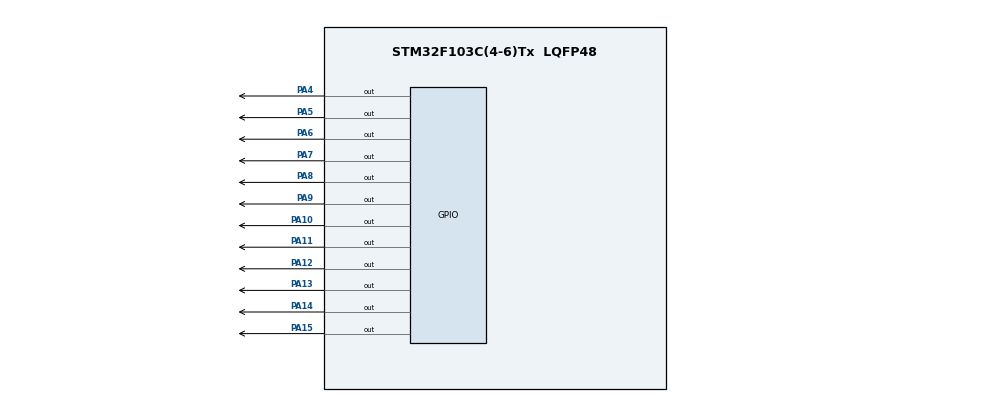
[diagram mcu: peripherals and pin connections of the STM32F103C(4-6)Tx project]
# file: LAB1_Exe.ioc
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Mcu.Family=STM32F1
Mcu.Name=STM32F103C(4-6)Tx
Mcu.Package=LQFP48
NVIC.PriorityGroup=NVIC_PRIORITYGROUP_4
PA10.GPIO_Speed=GPIO_SPEED_FREQ_HIGH
PA10.Signal=GPIO_Output
PA11.GPIO_Speed=GPIO_SPEED_FREQ_HIGH
PA11.Signal=GPIO_Output
PA12.GPIO_Speed=GPIO_SPEED_FREQ_HIGH
PA12.Signal=GPIO_Output
PA13.GPIO_Speed=GPIO_SPEED_FREQ_HIGH
PA13.Signal=GPIO_Output
PA14.GPIO_Speed=GPIO_SPEED_FREQ_HIGH
PA14.Signal=GPIO_Output
PA15.GPIO_Speed=GPIO_SPEED_FREQ_HIGH
PA15.Signal=GPIO_Output
PA4.GPIO_Speed=GPIO_SPEED_FREQ_HIGH
PA4.Signal=GPIO_Output
PA5.GPIO_Speed=GPIO_SPEED_FREQ_HIGH
PA5.Signal=GPIO_Output
PA6.GPIO_Speed=GPIO_SPEED_FREQ_HIGH
PA6.Signal=GPIO_Output
PA7.GPIO_Speed=GPIO_SPEED_FREQ_HIGH
PA7.Signal=GPIO_Output
PA8.GPIO_Speed=GPIO_SPEED_FREQ_HIGH
PA8.Signal=GPIO_Output
PA9.GPIO_Speed=GPIO_SPEED_FREQ_HIGH
PA9.Signal=GPIO_Output
ProjectManager.HeapSize=0x200
ProjectManager.StackSize=0x400
ProjectManager.TargetToolchain=STM32CubeIDE
RCC.APB1Freq_Value=8000000
RCC.APB2Freq_Value=8000000
VP_SYS_VS_ND.Mode=No_Debug
board=custom

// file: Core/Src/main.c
/* USER CODE BEGIN Header */
/**
  ******************************************************************************
  * @file           : main.c
  * @brief          : Main program body
  ******************************************************************************
  * @attention
  *
  * <h2><center>&copy; Copyright (c) 2023 STMicroelectronics.
  * All rights reserved.</center></h2>
  *
  * This software component is licensed by ST under BSD 3-Clause license,
  * the "License"; You may not use this file except in compliance with the
  * License. You may obtain a copy of the License at:
  *                        opensource.org/licenses/BSD-3-Clause
  *
  ******************************************************************************
  */
/* USER CODE END Header */
#include "main.h"

void SystemClock_Config(void);
static void MX_GPIO_Init(void);

void clearAllClock();
void setNumberOnClock(int num);
void clearNumberOnClock(int num);
int main(void)
{

  /* MCU Configuration--------------------------------------------------------*/

  /* Reset of all peripherals, Initializes the Flash interface and the Systick. */
  HAL_Init();

  /* Configure the system clock */
  SystemClock_Config();

  /* Initialize all configured peripherals */
  MX_GPIO_Init();

  /* Infinite loop */
  /* USER CODE BEGIN WHILE */
  int s = 0; // giay
  int m = 0; // phut
  int h = 0; // gio
  while (1)
  {
	  clearAllClock();

	  setNumberOnClock(s/5);
	  setNumberOnClock(m/5);
	  setNumberOnClock(h);

	  s++;
	  if (s >= 60)
	  {
		  m++;
		  s = 0;
	  }
	  if (m >= 60)
	  {
		  h++;
		  m = 0;
	  }
	  if (h >= 12) h = 0;
	  HAL_Delay(1000);
    /* USER CODE END WHILE */

  }
}

void clearAllClock()
{
	HAL_GPIO_WritePin(GPIOA, GPIO_PIN_4|GPIO_PIN_5|GPIO_PIN_6|GPIO_PIN_7
	                          |GPIO_PIN_8|GPIO_PIN_9|GPIO_PIN_10|GPIO_PIN_11
	                          |GPIO_PIN_12|GPIO_PIN_13|GPIO_PIN_14|GPIO_PIN_15, GPIO_PIN_SET);
}
void setNumberOnClock(int num){
	switch(num){
	case 0:
			HAL_GPIO_WritePin(GPIOA, GPIO_PIN_4, GPIO_PIN_RESET);
			break;
	case 1:
			HAL_GPIO_WritePin(GPIOA, GPIO_PIN_5, GPIO_PIN_RESET);
			break;
	case 2:
			HAL_GPIO_WritePin(GPIOA, GPIO_PIN_6, GPIO_PIN_RESET);
			break;
	case 3:
			HAL_GPIO_WritePin(GPIOA, GPIO_PIN_7, GPIO_PIN_RESET);
			break;
	case 4:
			HAL_GPIO_WritePin(GPIOA, GPIO_PIN_8, GPIO_PIN_RESET);
			break;
	case 5:
			HAL_GPIO_WritePin(GPIOA, GPIO_PIN_9, GPIO_PIN_RESET);
			break;
	case 6:
			HAL_GPIO_WritePin(GPIOA, GPIO_PIN_10, GPIO_PIN_RESET);
			break;
	case 7:
			HAL_GPIO_WritePin(GPIOA, GPIO_PIN_11, GPIO_PIN_RESET);
			break;
	case 8:
			HAL_GPIO_WritePin(GPIOA, GPIO_PIN_12, GPIO_PIN_RESET);
			break;
	case 9:
			HAL_GPIO_WritePin(GPIOA, GPIO_PIN_13, GPIO_PIN_RESET);
			break;
	case 10:
			HAL_GPIO_WritePin(GPIOA, GPIO_PIN_14, GPIO_PIN_RESET);
			break;
	case 11:
			HAL_GPIO_WritePin(GPIOA, GPIO_PIN_15, GPIO_PIN_RESET);
			break;
	}
}
void clearNumberOnClock(int num)
{
	switch(num)
	{
	case 0:
			HAL_GPIO_WritePin(GPIOA, GPIO_PIN_4, GPIO_PIN_SET);
			break;
	case 1:
			HAL_GPIO_WritePin(GPIOA, GPIO_PIN_5, GPIO_PIN_SET);
			break;
	case 2:
			HAL_GPIO_WritePin(GPIOA, GPIO_PIN_6, GPIO_PIN_SET);
			break;
	case 3:
			HAL_GPIO_WritePin(GPIOA, GPIO_PIN_7, GPIO_PIN_SET);
			break;
	case 4:
			HAL_GPIO_WritePin(GPIOA, GPIO_PIN_8, GPIO_PIN_SET);
			break;
	case 5:
			HAL_GPIO_WritePin(GPIOA, GPIO_PIN_9, GPIO_PIN_SET);
			break;
	case 6:
			HAL_GPIO_WritePin(GPIOA, GPIO_PIN_10, GPIO_PIN_SET);
			break;
	case 7:
			HAL_GPIO_WritePin(GPIOA, GPIO_PIN_11, GPIO_PIN_SET);
			break;
	case 8:
			HAL_GPIO_WritePin(GPIOA, GPIO_PIN_12, GPIO_PIN_SET);
			break;
	case 9:
			HAL_GPIO_WritePin(GPIOA, GPIO_PIN_13, GPIO_PIN_SET);
			break;
	case 10:
			HAL_GPIO_WritePin(GPIOA, GPIO_PIN_14, GPIO_PIN_SET);
			break;
	case 11:
			HAL_GPIO_WritePin(GPIOA, GPIO_PIN_15, GPIO_PIN_SET);
			break;

	}
}
void SystemClock_Config(void)
{
  RCC_OscInitTypeDef RCC_OscInitStruct = {0};
  RCC_ClkInitTypeDef RCC_ClkInitStruct = {0};

  /** Initializes the RCC Oscillators according to the specified parameters
  * in the RCC_OscInitTypeDef structure.
  */
  RCC_OscInitStruct.OscillatorType = RCC_OSCILLATORTYPE_HSI;
  RCC_OscInitStruct.HSIState = RCC_HSI_ON;
  RCC_OscInitStruct.HSICalibrationValue = RCC_HSICALIBRATION_DEFAULT;
  RCC_OscInitStruct.PLL.PLLState = RCC_PLL_NONE;
  if (HAL_RCC_OscConfig(&RCC_OscInitStruct) != HAL_OK)
  {
    Error_Handler();
  }
  /** Initializes the CPU, AHB and APB buses clocks
  */
  RCC_ClkInitStruct.ClockType = RCC_CLOCKTYPE_HCLK|RCC_CLOCKTYPE_SYSCLK
                              |RCC_CLOCKTYPE_PCLK1|RCC_CLOCKTYPE_PCLK2;
  RCC_ClkInitStruct.SYSCLKSource = RCC_SYSCLKSOURCE_HSI;
  RCC_ClkInitStruct.AHBCLKDivider = RCC_SYSCLK_DIV1;
  RCC_ClkInitStruct.APB1CLKDivider = RCC_HCLK_DIV1;
  RCC_ClkInitStruct.APB2CLKDivider = RCC_HCLK_DIV1;

  if (HAL_RCC_ClockConfig(&RCC_ClkInitStruct, FLASH_LATENCY_0) != HAL_OK)
  {
    Error_Handler();
  }
}

static void MX_GPIO_Init(void)
{
  GPIO_InitTypeDef GPIO_InitStruct = {0};

  /* GPIO Ports Clock Enable */
  __HAL_RCC_GPIOA_CLK_ENABLE();

  /*Configure GPIO pin Output Level */
  HAL_GPIO_WritePin(GPIOA, GPIO_PIN_4|GPIO_PIN_5|GPIO_PIN_6|GPIO_PIN_7
                          |GPIO_PIN_8|GPIO_PIN_9|GPIO_PIN_10|GPIO_PIN_11
                          |GPIO_PIN_12|GPIO_PIN_13|GPIO_PIN_14|GPIO_PIN_15, GPIO_PIN_RESET);

  /*Configure GPIO pins : PA4 PA5 PA6 PA7
                           PA8 PA9 PA10 PA11
                           PA12 PA13 PA14 PA15 */
  GPIO_InitStruct.Pin = GPIO_PIN_4|GPIO_PIN_5|GPIO_PIN_6|GPIO_PIN_7
                          |GPIO_PIN_8|GPIO_PIN_9|GPIO_PIN_10|GPIO_PIN_11
                          |GPIO_PIN_12|GPIO_PIN_13|GPIO_PIN_14|GPIO_PIN_15;
  GPIO_InitStruct.Mode = GPIO_MODE_OUTPUT_PP;
  GPIO_InitStruct.Pull = GPIO_NOPULL;
  GPIO_InitStruct.Speed = GPIO_SPEED_FREQ_HIGH;
  HAL_GPIO_Init(GPIOA, &GPIO_InitStruct);

}

void Error_Handler(void)
{
  __disable_irq();
  while (1)
  {
  }
}

/************************ (C) COPYRIGHT STMicroelectronics *****END OF FILE****/
